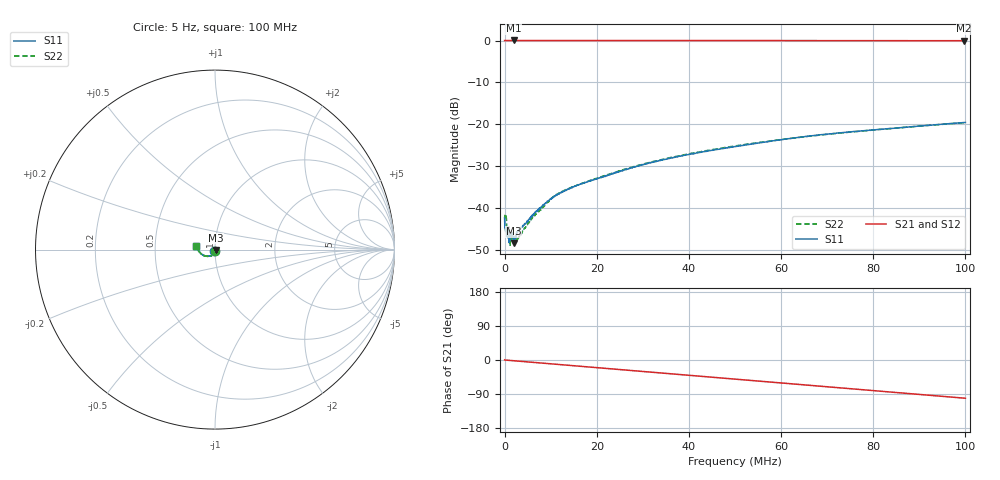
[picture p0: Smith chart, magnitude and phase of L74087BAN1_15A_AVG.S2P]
!Agilent Technologies,E5061B,MY49102235,A.02.00
!Date: Tue Jul 11 14:38:30 2023
!Data & Calibration Information:
!Freq	S11:SOLT2(ON)	S21:SOLT2(ON)	S12:SOLT2(ON)	S22:SOLT2(ON)
# Hz S RI R 50
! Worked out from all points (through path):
!   1600 points, 5 Hz to 100 MHz, reference 50 ohm
!   highest |S21| = 0.02 dB at 2.001 MHz (marker M1); lowest = 0.0 dB at 99.75 MHz (marker M2)
!   group delay of S21, straight-line fit = 2.8 ns
!   lowest |S11| = -48.3 dB at 1.939 MHz (marker M3), VSWR 1.01, Z = 50.3 - j0.214 ohm
!   |S11| at or under -10 dB: start of sweep to end of sweep
!   |S22| runs from -49.0 to -19.6 dB; largest |S21 - S12| = 0.0028
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5  -0.00517 -0.00564  1.002 0.00785  1 0.0103  -0.00153 -0.00757
437778.6  0.00511 -0.000574  1.001 -0.00557  1.001 -0.00601  0.00659 -0.00223
625395.8  0.00505 -0.000581  1.002 -0.0108  1.002 -0.01  0.00608 -0.00097
938091.3  0.00438 -0.00031  1.002 -0.0153  1.001 -0.0148  0.00595 -0.000889
1500943  0.00443 -0.00236  1.002 -0.0253  1.001 -0.0249  0.00305 -0.00353
1938717  0.00319 -0.00213  1.002 -0.034  1.001 -0.0333  0.00345 -0.00188
2001256  0.00308 -0.00261  1.002 -0.0354  1.001 -0.0349  0.00321 -0.00235
2376490  0.00337 -0.00276  1 -0.0418  1 -0.0417  0.00397 -0.00242
3252037  0.0043 -0.00387  0.9996 -0.0573  0.9991 -0.0568  0.00319 -0.00335
6003757  0.0034 -0.00727  0.9955 -0.1056  0.9954 -0.1051  0.00295 -0.00708
9505946  0.00158 -0.0121  0.9872 -0.1671  0.9871 -0.1664  0.00101 -0.0121
1.156974e7  0.000154 -0.0148  0.9806 -0.2026  0.9801 -0.2021  -0.000703 -0.0149
1.669794e7  -0.00353 -0.0193  0.9576 -0.2903  0.9574 -0.2896  -0.00384 -0.0194
2.582865e7  -0.0102 -0.0265  0.8991 -0.4399  0.8987 -0.4394  -0.00818 -0.0278
3.333334e7  -0.0183 -0.0319  0.8327 -0.5545  0.8325 -0.5538  -0.0172 -0.033
5.003127e7  -0.04 -0.0368  0.6357 -0.7717  0.6356 -0.771  -0.0404 -0.0377
6.672921e7  -0.0668 -0.0307  0.3839 -0.9216  0.3843 -0.9213  -0.0661 -0.0308
7.53596e7  -0.0789 -0.0217  0.2399 -0.9683  0.2403 -0.9679  -0.0783 -0.0225
8.33646e7  -0.0885 -0.01  0.1016 -0.9919  0.1018 -0.9917  -0.0881 -0.0119
9.155722e7  -0.0971 0.00392  -0.0422 -0.9953  -0.0419 -0.9951  -0.0971 0.000902
9.974984e7  -0.1036 0.0193  -0.1847 -0.9779  -0.1841 -0.9779  -0.1035 0.0167
1e8  -0.1038 0.0198  -0.1889 -0.9772  -0.1885 -0.9771  -0.1038 0.0173
